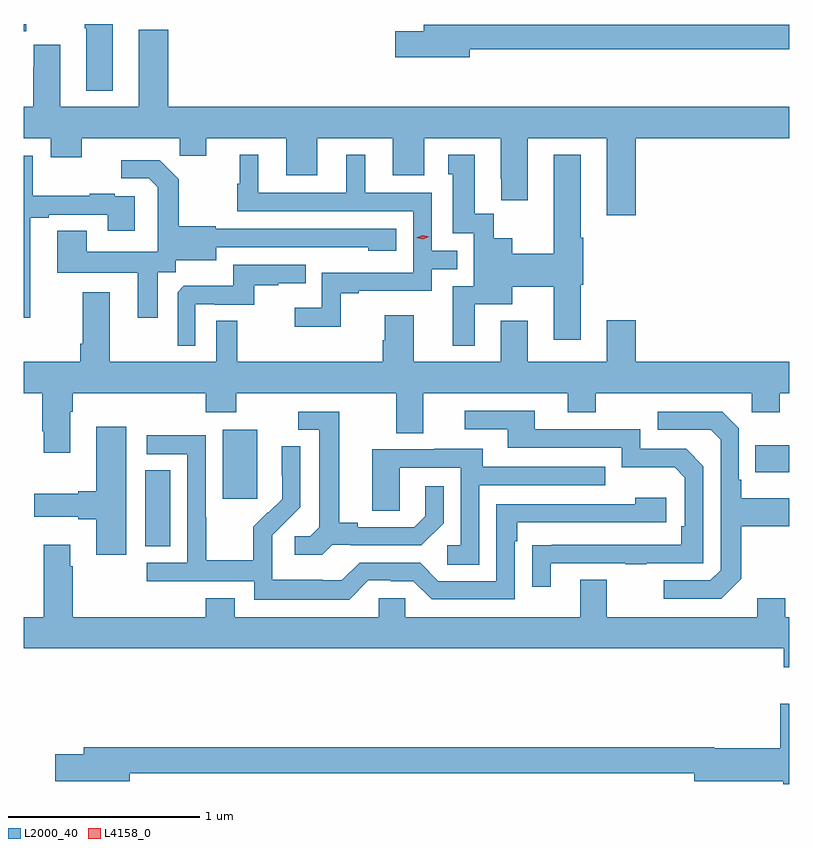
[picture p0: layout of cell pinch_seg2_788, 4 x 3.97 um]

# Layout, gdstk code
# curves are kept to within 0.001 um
import gdstk
lib = gdstk.Library(unit=1e-6, precision=1e-09)
def R(c, l, rs):  # rectangles x0, y0, x1, y1
    for r in rs: c.add(gdstk.rectangle(r[:2], r[2:], *l))
def P(c, l, *ps):  # polygons
    for p in ps: c.add(gdstk.Polygon(p, *l))
L2000_40 = (2000, 40)
L4158_0 = (4158, 0)

pinch_seg2_788 = lib.new_cell('pinch_seg2_788')
R(pinch_seg2_788, L2000_40, [(635.78,600.217,635.911,600.614), (636.185,600.465,636.364,600.826), (638.965,600.605,639.144,600.745), (635.144,602.906,635.157,602.945)])
P(pinch_seg2_788, L2000_40, [(635.611,602.945),(635.464,602.945),(635.464,602.923),(635.471,602.923),(635.471,602.597),(635.611,602.597)],
  [(637.474,602.814),(639.144,602.814),(639.144,602.942),(637.235,602.942),(637.235,602.906),(637.086,602.906),(637.086,602.771),(637.474,602.771)],
  [(638.342,602.348),(639.144,602.348),(639.144,602.512),(635.9,602.512),(635.9,602.914),(635.747,602.914),(635.747,602.512),(635.335,602.512),(635.335,602.836),(635.198,602.836),(635.198,602.723),(635.195,602.723),(635.195,602.512),(635.144,602.512),(635.144,602.348),(635.285,602.348),(635.285,602.249),(635.449,602.249),(635.449,602.348),(635.959,602.348),(635.959,602.258),(636.097,602.258),(636.097,602.348),(636.515,602.348),(636.515,602.154),(636.679,602.154),(636.679,602.348),(637.073,602.348),(637.073,602.154),(637.237,602.154),(637.237,602.348),(637.637,602.348),(637.637,602.137),(637.64,602.137),(637.64,602.025),(637.777,602.025),(637.777,602.348),(638.189,602.348),(638.189,601.947),(638.342,601.947)],
  [(636.801,601.539),(636.895,601.539),(636.895,601.551),(637.275,601.551),(637.275,601.665),(637.408,601.665),(637.408,601.761),(637.275,601.761),(637.275,602.064),(636.928,602.064),(636.928,602.263),(636.83,602.263),(636.83,602.064),(636.37,602.064),(636.37,602.263),(636.272,602.263),(636.272,602.112),(636.261,602.112),(636.261,601.968),(637.179,601.968),(637.179,601.647),(636.702,601.647),(636.702,601.462),(636.561,601.462),(636.561,601.364),(636.801,601.364)],
  [(637.501,601.481),(637.696,601.481),(637.696,601.573),(637.913,601.573),(637.913,601.296),(638.053,601.296),(638.053,601.584),(638.066,601.584),(638.066,601.828),(638.053,601.828),(638.053,602.263),(637.913,602.263),(637.913,601.745),(637.696,601.745),(637.696,601.825),(637.599,601.825),(637.599,601.955),(637.501,601.955),(637.501,602.263),(637.361,602.263),(637.361,602.16),(637.385,602.16),(637.385,601.851),(637.494,601.851),(637.494,601.575),(637.385,601.575),(637.385,601.266),(637.501,601.266)],
  [(635.179,601.932),(635.275,601.932),(635.275,601.95),(635.585,601.95),(635.585,601.866),(635.725,601.866),(635.725,602.046),(635.621,602.046),(635.621,602.059),(635.489,602.059),(635.489,602.048),(635.191,602.048),(635.191,602.256),(635.144,602.256),(635.144,601.41),(635.179,601.41)],
  [(635.845,601.648),(635.94,601.648),(635.94,601.712),(636.151,601.712),(636.151,601.779),(636.945,601.778),(636.945,601.76),(637.09,601.76),(637.09,601.875),(636.147,601.875),(636.147,601.888),(635.955,601.888),(635.955,602.133),(635.855,602.233),(635.655,602.233),(635.655,602.139),(635.799,602.139),(635.846,602.092),(635.846,601.997),(635.844,601.997),(635.844,601.756),(635.473,601.756),(635.473,601.865),(635.321,601.865),(635.321,601.646),(635.741,601.646),(635.741,601.41),(635.845,601.41)],
  [(636.042,601.482),(636.142,601.482),(636.142,601.479),(636.35,601.479),(636.35,601.581),(636.473,601.581),(636.473,601.592),(636.617,601.592),(636.617,601.689),(636.24,601.689),(636.24,601.577),(635.981,601.577),(635.949,601.545),(635.949,601.265),(636.042,601.265)],
  [(638.946,600.917),(639.093,600.917),(639.093,601.016),(639.144,601.016),(639.144,601.18),(638.342,601.18),(638.342,601.399),(638.189,601.399),(638.189,601.18),(637.777,601.18),(637.777,601.396),(637.637,601.396),(637.637,601.18),(637.183,601.18),(637.183,601.423),(637.031,601.423),(637.031,601.293),(637.019,601.293),(637.019,601.18),(636.259,601.18),(636.259,601.394),(636.15,601.394),(636.15,601.18),(635.593,601.18),(635.593,601.543),(635.453,601.543),(635.453,601.276),(635.441,601.276),(635.441,601.18),(635.144,601.18),(635.144,601.016),(635.242,601.016),(635.242,600.817),(635.249,600.817),(635.249,600.705),(635.389,600.705),(635.389,600.92),(635.402,600.92),(635.402,601.016),(636.095,601.016),(636.095,600.917),(636.255,600.917),(636.255,601.016),(637.091,601.016),(637.091,600.808),(637.231,600.808),(637.231,601.016),(637.985,601.016),(637.985,600.917),(638.133,600.917),(638.133,601.016),(638.946,601.016)],
  [(637.897,600.129),(638.287,600.129),(638.287,600.124),(638.399,600.124),(638.399,600.129),(638.694,600.129),(638.694,600.636),(638.604,600.726),(638.364,600.726),(638.364,600.828),(637.813,600.828),(637.813,600.924),(637.449,600.924),(637.449,600.828),(637.673,600.828),(637.673,600.732),(638.268,600.732),(638.268,600.629),(638.545,600.629),(638.598,600.576),(638.598,600.322),(638.578,600.322),(638.578,600.225),(637.801,600.224),(637.801,600.006),(637.897,600.006)],
  [(636.756,600.225),(636.85,600.225),(636.85,600.222),(637.222,600.222),(637.338,600.338),(637.338,600.532),(637.241,600.532),(637.241,600.375),(637.184,600.318),(636.889,600.318),(636.889,600.341),(636.793,600.341),(636.793,600.921),(636.579,600.921),(636.579,600.825),(636.689,600.825),(636.689,600.317),(636.642,600.27),(636.561,600.27),(636.561,600.173),(636.704,600.173)],
  [(638.893,600.049),(638.893,600.322),(639.144,600.322),(639.144,600.469),(638.893,600.469),(638.893,600.565),(638.88,600.565),(638.88,600.834),(638.793,600.921),(638.457,600.921),(638.457,600.825),(638.733,600.825),(638.784,600.774),(638.784,600.093),(638.73,600.039),(638.487,600.039),(638.487,599.943),(638.787,599.943)],
  [(635.68,600.841),(635.525,600.841),(635.525,600.506),(635.429,600.506),(635.429,600.493),(635.199,600.493),(635.199,600.371),(635.429,600.371),(635.429,600.359),(635.525,600.359),(635.525,600.174),(635.68,600.174)],
  [(636.945,600.039),(637.061,600.039),(637.061,600.036),(637.179,600.036),(637.275,599.94),(637.71,599.94),(637.71,600.245),(637.723,600.245),(637.723,600.342),(638.5,600.342),(638.5,600.472),(638.339,600.472),(638.339,600.438),(637.614,600.438),(637.614,600.036),(637.311,600.036),(637.215,600.132),(636.9,600.132),(636.807,600.039),(636.707,600.039),(636.707,600.043),(636.444,600.043),(636.444,600.177),(636.442,600.177),(636.442,600.274),(636.588,600.422),(636.588,600.74),(636.492,600.74),(636.492,600.586),(636.494,600.586),(636.494,600.464),(636.423,600.393),(636.42,600.396),(636.343,600.319),(636.343,600.145),(636.099,600.145),(636.099,600.368),(636.096,600.368),(636.096,600.798),(635.787,600.798),(635.787,600.699),(636,600.699),(636,600.132),(635.787,600.132),(635.787,600.036),(636.348,600.036),(636.348,599.939),(636.845,599.939)],
  [(637.524,600.537),(638.183,600.537),(638.183,600.633),(637.543,600.633),(637.543,600.727),(637.289,600.727),(637.289,600.723),(636.965,600.723),(636.965,600.403),(637.11,600.403),(637.11,600.627),(637.428,600.627),(637.428,600.222),(637.356,600.222),(637.356,600.121),(637.524,600.121)],
  [(639.144,599.848),(639.123,599.848),(639.123,599.947),(638.975,599.947),(638.975,599.848),(638.191,599.848),(638.191,600.043),(638.051,600.043),(638.051,599.848),(637.137,599.848),(637.137,599.946),(636.999,599.946),(636.999,599.848),(636.247,599.848),(636.247,599.947),(636.095,599.947),(636.095,599.848),(635.402,599.848),(635.402,600.113),(635.389,600.113),(635.389,600.226),(635.249,600.226),(635.249,599.848),(635.144,599.848),(635.144,599.684),(639.113,599.684),(639.113,599.585),(639.144,599.585)],
  [(639.144,599.395),(639.095,599.395),(639.095,599.162),(638.752,599.162),(638.752,599.168),(635.459,599.168),(635.459,599.132),(635.31,599.132),(635.31,598.99),(635.698,598.99),(635.698,599.032),(638.648,599.032),(638.648,598.99),(639.111,598.99),(639.111,598.976),(639.144,598.976)])
P(pinch_seg2_788, L4158_0, [(637.23,601.822),(637.195,601.83),(637.194,601.83),(637.195,601.83),(637.228,601.842),(637.264,601.835),(637.264,601.834),(637.264,601.834)])

lib.write_gds('pinch_seg2_788.gds')
